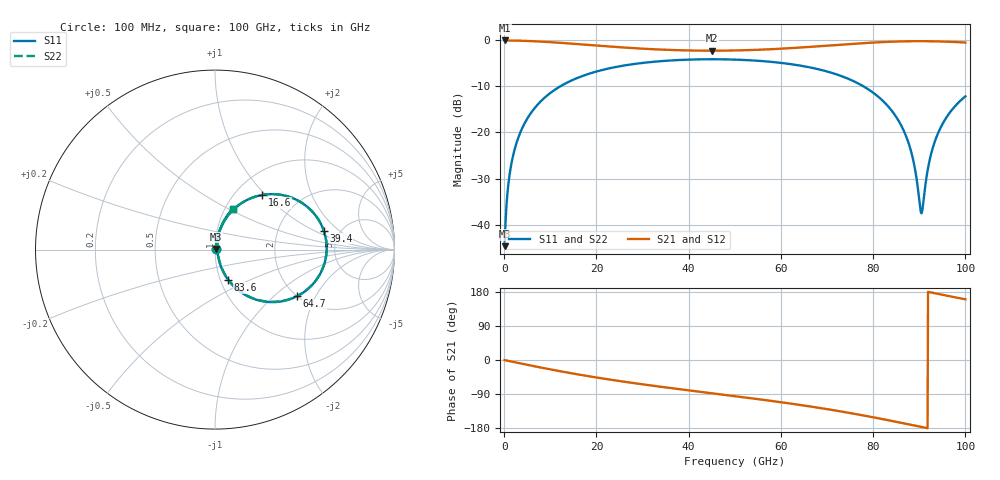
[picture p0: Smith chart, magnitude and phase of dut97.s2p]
! Touchstone file exported from HFSS 2026.1.0
!  File:  C:/ffzhzh/LocalFiles/Ansys_Project_Files/temp_train_RDL_97_1783499049_55944.aedt
!  Generated:  04:25:41 PM Jul  8, 2026
!  Design:  RDL
!  Project:  temp_train_RDL_97_1783499049_55944
! Variables:
!  h_bsmrdl = 2um
!  h_ox = 20um
!  h_rdl = 5um
!  h_sub = 80um
!  h_tmrdl = 2.55um
!  h_tsv = 80um
!  h_via = 3um
!  l_bsmrdl = 300um
!  l_sub = 1047.39um
!  l_tmrdl = 647.39um
!  m_sub = 200um
!  pitch = 48.9um
!  r_tsv = 6um
!  s_tmrdl = 10um
!  w_bsmrdl = 18um
!  w_sub = 500um
!  w_tmrdl = 18.82um
!  x_tsv_center1 = 656.8um
!  x_tsv_center2 = 974.8um
!  x_tsv_center3 = 1641.01um
!  x_tsv_center4 = 1959.01um
!  x_tsv_center5 = 2625.22um
!  x_tsv_center6 = 2943.22um
# GHz S MA R 50.000000
! Terminal data exported
! Port[1] = TM_RDL1_1_T1
! Port[2] = TM_RDL1_1_T2
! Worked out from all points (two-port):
!   1000 points, 100 MHz to 100 GHz, reference 50 ohm
!   highest |S21| = -0.04 dB at 100 MHz (marker M1); lowest = -2.3 dB at 45 GHz (marker M2)
!   |S21| within 3 dB of the highest: start of sweep to end of sweep
!   lowest |S11| = -44.7 dB at 100 MHz (marker M3), VSWR 1.01, Z = 50.5 + j0.312 ohm
!   |S11| at or under -10 dB: start of sweep to 12.16 GHz; 77.91 GHz to end of sweep
!   |S22| runs from -44.7 to -4.1 dB; largest |S21 - S12| = 1.8e-14
!   S11 on the Smith chart (normalised r, x): 100 MHz: 1.01, +0.01; 16.6 GHz: 1.32, +0.96; 39.4 GHz: 3.74, +1.27; 64.7 GHz: 2.00, -1.43; 83.6 GHz: 1.09, -0.38; 100 GHz: 1.09, +0.52
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0.1  0.005852 31.8  0.995 -0.3  0.995 -0.3  0.005852 31.8
! Gamma 0 0 0 0
! Port Impedance 50 0 50 0
0.9  0.02713 75.0  0.9937 -2.3  0.9937 -2.3  0.02713 75.0
1.5  0.04388 77.9  0.9928 -3.9  0.9928 -3.9  0.04388 77.9
4.1  0.1164 76.1  0.9861 -10.4  0.9861 -10.4  0.1164 76.1
9  0.2439 65.5  0.9608 -22.4  0.9608 -22.4  0.2439 65.5
16.6  0.4032 49.1  0.9035 -39.3  0.9035 -39.3  0.4032 49.1
16.8  0.4067 48.7  0.9019 -39.7  0.9019 -39.7  0.4067 48.7
33.4  0.5903 19.1  0.7947 -69.8  0.7947 -69.8  0.5903 19.2
39.4  0.615 9.9  0.7764 -79.2  0.7764 -79.2  0.615 10.0
45  0.6224 1.5  0.7708 -87.7  0.7708 -87.7  0.6224 1.6
50.1  0.6166 -6.1  0.7753 -95.5  0.7753 -95.5  0.6166 -6.0
64.7  0.5257 -29.7  0.8369 -119.6  0.8369 -119.6  0.5257 -29.4
66.7  0.5029 -33.2  0.8501 -123.3  0.8501 -123.3  0.5028 -32.9
76.6  0.3435 -52.4  0.9217 -143.4  0.9217 -143.4  0.3434 -52.0
83.4  0.1883 -66.2  0.9621 -159.2  0.9621 -159.2  0.1883 -65.6
83.6  0.1832 -66.5  0.9629 -159.7  0.9629 -159.7  0.1832 -65.9
87.7  0.07633 -70.6  0.9755 -169.8  0.9755 -169.8  0.07646 -69.4
90.5  0.01332 6.3  0.9774 -176.7  0.9774 -176.7  0.01459 6.6
92.2  0.04895 72.5  0.9758 179.0  0.9758 179.0  0.0494 71.4
93.8  0.09111 76.0  0.9725 175.1  0.9725 175.1  0.09138 75.4
96.5  0.1612 73.1  0.9631 168.4  0.9631 168.4  0.1614 72.9
100  0.2466 66.5  0.9449 160.1  0.9449 160.1  0.2467 66.5
